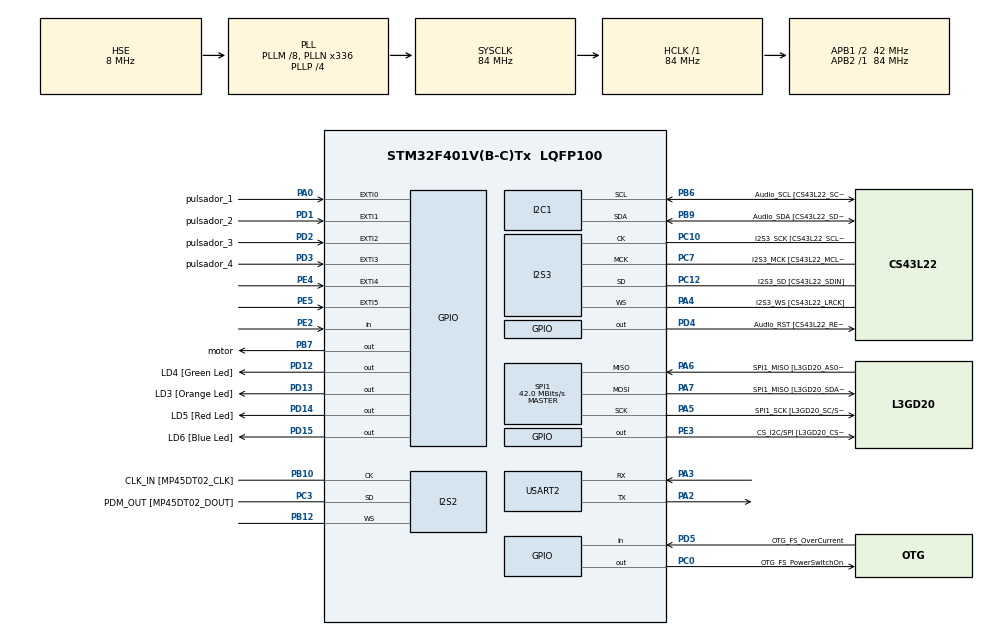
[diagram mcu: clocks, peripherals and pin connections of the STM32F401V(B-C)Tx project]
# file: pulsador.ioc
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FREERTOS.Tasks01=defaultTask,24,4096,StartDefaultTask,Default,NULL,Dynamic,NULL,NULL
FREERTOS.configMINIMAL_STACK_SIZE=128
FREERTOS.configTOTAL_HEAP_SIZE=32768
I2C1.I2C_Mode=I2C_Fast
I2S2.ErrorAudioFreq=0.0 %
I2S2.FullDuplexMode=I2S_FULLDUPLEXMODE_DISABLE
I2S2.Instance=SPI$Index
I2S2.RealAudioFreq=8.0 KHz
I2S2.VirtualMode=I2S_MODE_MASTER
I2S3.AudioFreq=I2S_AUDIOFREQ_96K
I2S3.ErrorAudioFreq=-2.34 %
I2S3.FullDuplexMode=I2S_FULLDUPLEXMODE_DISABLE
I2S3.Instance=SPI$Index
I2S3.RealAudioFreq=93.75 KHz
I2S3.VirtualMode=I2S_MODE_MASTER
Mcu.Family=STM32F4
Mcu.Name=STM32F401V(B-C)Tx
Mcu.Package=LQFP100
NVIC.EXTI0_IRQn=true\:5\:0\:false\:false\:true\:true\:true\:true
NVIC.EXTI1_IRQn=true\:5\:0\:false\:false\:true\:true\:true\:true
NVIC.EXTI2_IRQn=true\:5\:0\:false\:false\:true\:true\:true\:true
NVIC.EXTI3_IRQn=true\:5\:0\:false\:false\:true\:true\:true\:true
NVIC.PriorityGroup=NVIC_PRIORITYGROUP_4
NVIC.TIM1_UP_TIM10_IRQn=true\:0\:0\:false\:false\:true\:false\:false\:true
NVIC.TimeBase=TIM1_UP_TIM10_IRQn
NVIC.TimeBaseIP=TIM1
PA0-WKUP.GPIO_Label=pulsador_1
PA0-WKUP.GPIO_PuPd=GPIO_PULLDOWN
PA0-WKUP.Signal=GPXTI0
PA10.GPIO_Label=OTG_FS_ID
PA10.Signal=USB_OTG_FS_ID
PA11.GPIO_Label=OTG_FS_DM
PA11.Signal=USB_OTG_FS_DM
PA12.GPIO_Label=OTG_FS_DP
PA12.Signal=USB_OTG_FS_DP
PA13.GPIO_Label=SWDIO
PA13.Mode=Serial_Wire
PA13.Signal=SYS_JTMS-SWDIO
PA14.GPIO_Label=SWCLK
PA14.Mode=Serial_Wire
PA14.Signal=SYS_JTCK-SWCLK
PA2.Mode=Asynchronous
PA2.Signal=USART2_TX
PA3.Mode=Asynchronous
PA3.Signal=USART2_RX
PA4.GPIO_Label=I2S3_WS [CS43L22_LRCK]
PA4.GPIO_Mode=GPIO_MODE_AF_PP
PA4.GPIO_PuPd=GPIO_NOPULL
PA4.GPIO_Speed=GPIO_SPEED_FREQ_LOW
PA4.Mode=Half_Duplex_Master
PA4.Signal=I2S3_WS
PA5.GPIO_Label=SPI1_SCK [L3GD20_SC/SPC]
PA5.Mode=Full_Duplex_Master
PA5.Signal=SPI1_SCK
PA6.GPIO_Label=SPI1_MISO [L3GD20_AS0/SDO]
PA6.Mode=Full_Duplex_Master
PA6.Signal=SPI1_MISO
PA7.GPIO_Label=SPI1_MISO [L3GD20_SDA/SDI/SDO]
PA7.Mode=Full_Duplex_Master
PA7.Signal=SPI1_MOSI
PA9.GPIO_Label=VBUS_FS
PA9.Signal=USB_OTG_FS_VBUS
PB10.GPIO_Label=CLK_IN [MP45DT02_CLK]
PB10.Mode=Half_Duplex_Master
PB10.Signal=I2S2_CK
PB12.Mode=Half_Duplex_Master
PB12.Signal=I2S2_WS
PB3.GPIO_Label=SWO
PB3.Signal=SYS_JTDO-SWO
PB6.GPIO_Label=Audio_SCL [CS43L22_SCL]
PB6.GPIO_Mode=GPIO_MODE_AF_OD
PB6.GPIO_PuPd=GPIO_NOPULL
PB6.GPIO_Speed=GPIO_SPEED_FREQ_LOW
PB6.Mode=I2C
PB6.Signal=I2C1_SCL
PB7.GPIO_Label=motor
PB7.GPIO_ModeDefaultOutputPP=GPIO_MODE_OUTPUT_OD
PB7.GPIO_PuPd=GPIO_PULLUP
PB7.PinState=GPIO_PIN_SET
PB7.Signal=GPIO_Output
PB9.GPIO_Label=Audio_SDA [CS43L22_SDA]
PB9.GPIO_Mode=GPIO_MODE_AF_OD
PB9.GPIO_PuPd=GPIO_NOPULL
PB9.GPIO_Speed=GPIO_SPEED_FREQ_LOW
PB9.Mode=I2C
PB9.Signal=I2C1_SDA
PC0.GPIO_Label=OTG_FS_PowerSwitchOn
PC0.PinState=GPIO_PIN_SET
PC0.Signal=GPIO_Output
PC10.GPIO_Label=I2S3_SCK [CS43L22_SCLK]
PC10.GPIO_Mode=GPIO_MODE_AF_PP
PC10.GPIO_PuPd=GPIO_NOPULL
PC10.GPIO_Speed=GPIO_SPEED_FREQ_LOW
PC10.Mode=Half_Duplex_Master
PC10.Signal=I2S3_CK
PC12.GPIO_Label=I2S3_SD [CS43L22_SDIN]
PC12.GPIO_Mode=GPIO_MODE_AF_PP
PC12.GPIO_PuPd=GPIO_NOPULL
PC12.GPIO_Speed=GPIO_SPEED_FREQ_LOW
PC12.Mode=Half_Duplex_Master
PC12.Signal=I2S3_SD
PC14-OSC32_IN.GPIO_Label=PC14-OSC32_IN
PC14-OSC32_IN.Mode=LSE-External-Oscillator
PC14-OSC32_IN.Signal=RCC_OSC32_IN
PC15-OSC32_OUT.GPIO_Label=PC15-OSC32_OUT
PC15-OSC32_OUT.Mode=LSE-External-Oscillator
PC15-OSC32_OUT.Signal=RCC_OSC32_OUT
PC3.GPIO_Label=PDM_OUT [MP45DT02_DOUT]
PC3.Mode=Half_Duplex_Master
PC3.Signal=I2S2_SD
PC7.GPIO_Label=I2S3_MCK [CS43L22_MCLK]
PC7.GPIO_Mode=GPIO_MODE_AF_PP
PC7.GPIO_PuPd=GPIO_NOPULL
PC7.GPIO_Speed=GPIO_SPEED_FREQ_LOW
PC7.Mode=Master_Clock_Activated
PC7.Signal=I2S3_MCK
PD1.GPIO_Label=pulsador_2
PD1.GPIO_PuPd=GPIO_PULLDOWN
PD1.Signal=GPXTI1
PD12.GPIO_Label=LD4 [Green Led]
PD12.GPIO_PuPd=GPIO_NOPULL
PD12.GPIO_Speed=GPIO_SPEED_FREQ_LOW
PD12.Signal=GPIO_Output
PD13.GPIO_Label=LD3 [Orange Led]
PD13.GPIO_PuPd=GPIO_NOPULL
PD13.GPIO_Speed=GPIO_SPEED_FREQ_LOW
PD13.Signal=GPIO_Output
PD14.GPIO_Label=LD5 [Red Led]
PD14.GPIO_PuPd=GPIO_NOPULL
PD14.GPIO_Speed=GPIO_SPEED_FREQ_LOW
PD14.Signal=GPIO_Output
PD15.GPIO_Label=LD6 [Blue Led]
PD15.GPIO_PuPd=GPIO_NOPULL
PD15.GPIO_Speed=GPIO_SPEED_FREQ_LOW
PD15.Signal=GPIO_Output
PD2.GPIO_Label=pulsador_3
PD2.GPIO_ModeDefaultEXTI=GPIO_MODE_IT_RISING
PD2.GPIO_PuPd=GPIO_PULLDOWN
PD2.Signal=GPXTI2
PD3.GPIO_Label=pulsador_4
PD3.GPIO_PuPd=GPIO_PULLDOWN
PD3.Signal=GPXTI3
PD4.GPIO_Label=Audio_RST [CS43L22_RESET]
PD4.Signal=GPIO_Output
PD5.GPIO_Label=OTG_FS_OverCurrent
PD5.Signal=GPIO_Input
PE2.Signal=GPIO_Input
PE3.GPIO_Label=CS_I2C/SPI [L3GD20_CS_I2C/SPI]
PE3.Signal=GPIO_Output
PE4.GPIO_ModeDefaultEXTI=GPIO_MODE_EVT_RISING
PE4.Signal=GPXTI4
PE5.GPIO_ModeDefaultEXTI=GPIO_MODE_EVT_RISING
PE5.Signal=GPXTI5
PH0\ -\ OSC_IN.GPIO_Label=PH0-OSC_IN
PH0\ -\ OSC_IN.Mode=HSE-External-Oscillator
PH0\ -\ OSC_IN.Signal=RCC_OSC_IN
PH1\ -\ OSC_OUT.GPIO_Label=PH1-OSC_OUT
PH1\ -\ OSC_OUT.Mode=HSE-External-Oscillator
PH1\ -\ OSC_OUT.Signal=RCC_OSC_OUT
ProjectManager.HeapSize=0x200
ProjectManager.StackSize=0x400
ProjectManager.TargetToolchain=STM32CubeIDE
RCC.AHBFreq_Value=84000000
RCC.APB1CLKDivider=RCC_HCLK_DIV2
RCC.APB1Freq_Value=42000000
RCC.APB1TimFreq_Value=84000000
RCC.APB2Freq_Value=84000000
RCC.APB2TimFreq_Value=84000000
RCC.CortexFreq_Value=84000000
RCC.HCLKFreq_Value=84000000
RCC.HSE_VALUE=8000000
RCC.HSI_VALUE=16000000
RCC.PLLM=8
RCC.PLLN=336
RCC.PLLP=RCC_PLLP_DIV4
RCC.PLLQ=7
RCC.PLLSourceVirtual=RCC_PLLSOURCE_HSE
RCC.SYSCLKFreq_VALUE=84000000
RCC.SYSCLKSource=RCC_SYSCLKSOURCE_PLLCLK
RCC.VCOOutputFreq_Value=336000000
SPI1.CalculateBaudRate=42.0 MBits/s
SPI1.Direction=SPI_DIRECTION_2LINES
SPI1.Mode=SPI_MODE_MASTER
SPI1.VirtualType=VM_MASTER
USART2.VirtualMode=VM_ASYNC
VP_FREERTOS_VS_CMSIS_V2.Mode=CMSIS_V2
VP_SYS_VS_tim1.Mode=TIM1
board=STM32F401C-DISCO

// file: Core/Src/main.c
/* USER CODE BEGIN Header */
/**
  ******************************************************************************
  * @file           : main.c
  * @brief          : Main program body
  ******************************************************************************
  * @attention
  *
  * <h2><center>&copy; Copyright (c) 2019 STMicroelectronics.
  * All rights reserved.</center></h2>
  *
  * This software component is licensed by ST under Ultimate Liberty license
  * SLA0044, the "License"; You may not use this file except in compliance with
  * the License. You may obtain a copy of the License at:
  *                             www.st.com/SLA0044
  *
  ******************************************************************************
  */
/* USER CODE END Header */

#include "main.h"
#include "cmsis_os.h"
#include "button_driver.h"
#include "read_accel.h"

I2C_HandleTypeDef hi2c1;

I2S_HandleTypeDef hi2s2;
I2S_HandleTypeDef hi2s3;

SPI_HandleTypeDef hspi1;

UART_HandleTypeDef huart2;

/* USER CODE BEGIN PV */
osThreadId_t buttonTaskHandle;
osThreadId_t readAccelTaskHandle;
/* USER CODE END PV */

void SystemClock_Config(void);
static void MX_GPIO_Init(void);
static void MX_I2C1_Init(void);
static void MX_I2S2_Init(void);
static void MX_I2S3_Init(void);
static void MX_SPI1_Init(void);
static void MX_USART2_UART_Init(void);

int main(void)
{

  /* MCU Configuration--------------------------------------------------------*/

  /* Reset of all peripherals, Initializes the Flash interface and the Systick. */
  HAL_Init();

  /* Configure the system clock */
  SystemClock_Config();

  /* Initialize all configured peripherals */
  MX_GPIO_Init();
  MX_I2C1_Init();
  MX_I2S2_Init();
  MX_I2S3_Init();
  MX_SPI1_Init();
  MX_USART2_UART_Init();

  osKernelInitialize();

  /* Create the thread(s) */

  /* USER CODE BEGIN RTOS_THREADS */
  InitButtonTask();
  const osThreadAttr_t buttonTask_attributes = {
    .name = "buttonTask",
    .priority = (osPriority_t) osPriorityAboveNormal,
    .stack_size = 4096,
  };
  buttonTaskHandle = osThreadNew(ButtonTask, NULL, &buttonTask_attributes);

  InitReadAccelTask();
  const osThreadAttr_t readAccelTask_attributes = {
    .name = "readAccelTask",
    .priority = (osPriority_t) osPriorityNormal,
    .stack_size = 8192,
  };
  readAccelTaskHandle = osThreadNew(ReadAccelTask, NULL,
    &readAccelTask_attributes);
  /* USER CODE END RTOS_THREADS */

  /* Start scheduler */
  osKernelStart();

  /* We should never get here as control is now taken by the scheduler */

  /* Infinite loop */
  while (1)
  {

  }
}

void SystemClock_Config(void)
{
  RCC_OscInitTypeDef RCC_OscInitStruct = {0};
  RCC_ClkInitTypeDef RCC_ClkInitStruct = {0};
  RCC_PeriphCLKInitTypeDef PeriphClkInitStruct = {0};

  /** Configure the main internal regulator output voltage
  */
  __HAL_RCC_PWR_CLK_ENABLE();
  __HAL_PWR_VOLTAGESCALING_CONFIG(PWR_REGULATOR_VOLTAGE_SCALE2);
  /** Initializes the CPU, AHB and APB busses clocks
  */
  RCC_OscInitStruct.OscillatorType = RCC_OSCILLATORTYPE_HSE;
  RCC_OscInitStruct.HSEState = RCC_HSE_ON;
  RCC_OscInitStruct.PLL.PLLState = RCC_PLL_ON;
  RCC_OscInitStruct.PLL.PLLSource = RCC_PLLSOURCE_HSE;
  RCC_OscInitStruct.PLL.PLLM = 8;
  RCC_OscInitStruct.PLL.PLLN = 336;
  RCC_OscInitStruct.PLL.PLLP = RCC_PLLP_DIV4;
  RCC_OscInitStruct.PLL.PLLQ = 7;
  if (HAL_RCC_OscConfig(&RCC_OscInitStruct) != HAL_OK)
  {
    Error_Handler();
  }
  /** Initializes the CPU, AHB and APB busses clocks
  */
  RCC_ClkInitStruct.ClockType = RCC_CLOCKTYPE_HCLK|RCC_CLOCKTYPE_SYSCLK
                              |RCC_CLOCKTYPE_PCLK1|RCC_CLOCKTYPE_PCLK2;
  RCC_ClkInitStruct.SYSCLKSource = RCC_SYSCLKSOURCE_PLLCLK;
  RCC_ClkInitStruct.AHBCLKDivider = RCC_SYSCLK_DIV1;
  RCC_ClkInitStruct.APB1CLKDivider = RCC_HCLK_DIV2;
  RCC_ClkInitStruct.APB2CLKDivider = RCC_HCLK_DIV1;

  if (HAL_RCC_ClockConfig(&RCC_ClkInitStruct, FLASH_LATENCY_2) != HAL_OK)
  {
    Error_Handler();
  }
  PeriphClkInitStruct.PeriphClockSelection = RCC_PERIPHCLK_I2S;
  PeriphClkInitStruct.PLLI2S.PLLI2SN = 192;
  PeriphClkInitStruct.PLLI2S.PLLI2SR = 2;
  if (HAL_RCCEx_PeriphCLKConfig(&PeriphClkInitStruct) != HAL_OK)
  {
    Error_Handler();
  }
}

static void MX_I2C1_Init(void)
{

  hi2c1.Instance = I2C1;
  hi2c1.Init.ClockSpeed = 400000;
  hi2c1.Init.DutyCycle = I2C_DUTYCYCLE_2;
  hi2c1.Init.OwnAddress1 = 0;
  hi2c1.Init.AddressingMode = I2C_ADDRESSINGMODE_7BIT;
  hi2c1.Init.DualAddressMode = I2C_DUALADDRESS_DISABLE;
  hi2c1.Init.OwnAddress2 = 0;
  hi2c1.Init.GeneralCallMode = I2C_GENERALCALL_DISABLE;
  hi2c1.Init.NoStretchMode = I2C_NOSTRETCH_DISABLE;
  if (HAL_I2C_Init(&hi2c1) != HAL_OK)
  {
    Error_Handler();
  }

}

static void MX_I2S2_Init(void)
{

  hi2s2.Instance = SPI2;
  hi2s2.Init.Mode = I2S_MODE_MASTER_TX;
  hi2s2.Init.Standard = I2S_STANDARD_PHILIPS;
  hi2s2.Init.DataFormat = I2S_DATAFORMAT_16B;
  hi2s2.Init.MCLKOutput = I2S_MCLKOUTPUT_DISABLE;
  hi2s2.Init.AudioFreq = I2S_AUDIOFREQ_8K;
  hi2s2.Init.CPOL = I2S_CPOL_LOW;
  hi2s2.Init.ClockSource = I2S_CLOCK_PLL;
  hi2s2.Init.FullDuplexMode = I2S_FULLDUPLEXMODE_DISABLE;
  if (HAL_I2S_Init(&hi2s2) != HAL_OK)
  {
    Error_Handler();
  }

}

static void MX_I2S3_Init(void)
{

  hi2s3.Instance = SPI3;
  hi2s3.Init.Mode = I2S_MODE_MASTER_TX;
  hi2s3.Init.Standard = I2S_STANDARD_PHILIPS;
  hi2s3.Init.DataFormat = I2S_DATAFORMAT_16B;
  hi2s3.Init.MCLKOutput = I2S_MCLKOUTPUT_ENABLE;
  hi2s3.Init.AudioFreq = I2S_AUDIOFREQ_96K;
  hi2s3.Init.CPOL = I2S_CPOL_LOW;
  hi2s3.Init.ClockSource = I2S_CLOCK_PLL;
  hi2s3.Init.FullDuplexMode = I2S_FULLDUPLEXMODE_DISABLE;
  if (HAL_I2S_Init(&hi2s3) != HAL_OK)
  {
    Error_Handler();
  }

}

static void MX_SPI1_Init(void)
{

  /* SPI1 parameter configuration*/
  hspi1.Instance = SPI1;
  hspi1.Init.Mode = SPI_MODE_MASTER;
  hspi1.Init.Direction = SPI_DIRECTION_2LINES;
  hspi1.Init.DataSize = SPI_DATASIZE_8BIT;
  hspi1.Init.CLKPolarity = SPI_POLARITY_LOW;
  hspi1.Init.CLKPhase = SPI_PHASE_1EDGE;
  hspi1.Init.NSS = SPI_NSS_SOFT;
  hspi1.Init.BaudRatePrescaler = SPI_BAUDRATEPRESCALER_2;
  hspi1.Init.FirstBit = SPI_FIRSTBIT_MSB;
  hspi1.Init.TIMode = SPI_TIMODE_DISABLE;
  hspi1.Init.CRCCalculation = SPI_CRCCALCULATION_DISABLE;
  hspi1.Init.CRCPolynomial = 10;
  if (HAL_SPI_Init(&hspi1) != HAL_OK)
  {
    Error_Handler();
  }

}

static void MX_USART2_UART_Init(void)
{

  huart2.Instance = USART2;
  huart2.Init.BaudRate = 115200;
  huart2.Init.WordLength = UART_WORDLENGTH_8B;
  huart2.Init.StopBits = UART_STOPBITS_1;
  huart2.Init.Parity = UART_PARITY_NONE;
  huart2.Init.Mode = UART_MODE_TX_RX;
  huart2.Init.HwFlowCtl = UART_HWCONTROL_NONE;
  huart2.Init.OverSampling = UART_OVERSAMPLING_16;
  if (HAL_UART_Init(&huart2) != HAL_OK)
  {
    Error_Handler();
  }

}

static void MX_GPIO_Init(void)
{
  GPIO_InitTypeDef GPIO_InitStruct = {0};

  /* GPIO Ports Clock Enable */
  __HAL_RCC_GPIOE_CLK_ENABLE();
  __HAL_RCC_GPIOC_CLK_ENABLE();
  __HAL_RCC_GPIOH_CLK_ENABLE();
  __HAL_RCC_GPIOA_CLK_ENABLE();
  __HAL_RCC_GPIOB_CLK_ENABLE();
  __HAL_RCC_GPIOD_CLK_ENABLE();

  /*Configure GPIO pin Output Level */
  HAL_GPIO_WritePin(CS_I2C_SPI_GPIO_Port, CS_I2C_SPI_Pin, GPIO_PIN_RESET);

  /*Configure GPIO pin Output Level */
  HAL_GPIO_WritePin(OTG_FS_PowerSwitchOn_GPIO_Port, OTG_FS_PowerSwitchOn_Pin, GPIO_PIN_SET);

  /*Configure GPIO pin Output Level */
  HAL_GPIO_WritePin(GPIOD, LD4_Pin|LD3_Pin|LD5_Pin|LD6_Pin
                          |Audio_RST_Pin, GPIO_PIN_RESET);

  /*Configure GPIO pin : PE2 */
  GPIO_InitStruct.Pin = GPIO_PIN_2;
  GPIO_InitStruct.Mode = GPIO_MODE_INPUT;
  GPIO_InitStruct.Pull = GPIO_NOPULL;
  HAL_GPIO_Init(GPIOE, &GPIO_InitStruct);

  /*Configure GPIO pin : CS_I2C_SPI_Pin */
  GPIO_InitStruct.Pin = CS_I2C_SPI_Pin;
  GPIO_InitStruct.Mode = GPIO_MODE_OUTPUT_PP;
  GPIO_InitStruct.Pull = GPIO_NOPULL;
  GPIO_InitStruct.Speed = GPIO_SPEED_FREQ_LOW;
  HAL_GPIO_Init(CS_I2C_SPI_GPIO_Port, &GPIO_InitStruct);

  /*Configure GPIO pins : PE4 PE5 */
  GPIO_InitStruct.Pin = GPIO_PIN_4|GPIO_PIN_5;
  GPIO_InitStruct.Mode = GPIO_MODE_EVT_RISING;
  GPIO_InitStruct.Pull = GPIO_NOPULL;
  HAL_GPIO_Init(GPIOE, &GPIO_InitStruct);

  /*Configure GPIO pin : OTG_FS_PowerSwitchOn_Pin */
  GPIO_InitStruct.Pin = OTG_FS_PowerSwitchOn_Pin;
  GPIO_InitStruct.Mode = GPIO_MODE_OUTPUT_PP;
  GPIO_InitStruct.Pull = GPIO_NOPULL;
  GPIO_InitStruct.Speed = GPIO_SPEED_FREQ_LOW;
  HAL_GPIO_Init(OTG_FS_PowerSwitchOn_GPIO_Port, &GPIO_InitStruct);

  /*Configure GPIO pin : pulsador_1_Pin */
  GPIO_InitStruct.Pin = pulsador_1_Pin;
  GPIO_InitStruct.Mode = GPIO_MODE_IT_RISING;
  GPIO_InitStruct.Pull = GPIO_PULLDOWN;
  HAL_GPIO_Init(pulsador_1_GPIO_Port, &GPIO_InitStruct);

  /*Configure GPIO pins : LD4_Pin LD3_Pin LD5_Pin LD6_Pin
                           Audio_RST_Pin */
  GPIO_InitStruct.Pin = LD4_Pin|LD3_Pin|LD5_Pin|LD6_Pin
                          |Audio_RST_Pin;
  GPIO_InitStruct.Mode = GPIO_MODE_OUTPUT_PP;
  GPIO_InitStruct.Pull = GPIO_NOPULL;
  GPIO_InitStruct.Speed = GPIO_SPEED_FREQ_LOW;
  HAL_GPIO_Init(GPIOD, &GPIO_InitStruct);

  /*Configure GPIO pin : VBUS_FS_Pin */
  GPIO_InitStruct.Pin = VBUS_FS_Pin;
  GPIO_InitStruct.Mode = GPIO_MODE_INPUT;
  GPIO_InitStruct.Pull = GPIO_NOPULL;
  HAL_GPIO_Init(VBUS_FS_GPIO_Port, &GPIO_InitStruct);

  /*Configure GPIO pins : OTG_FS_ID_Pin OTG_FS_DM_Pin OTG_FS_DP_Pin */
  GPIO_InitStruct.Pin = OTG_FS_ID_Pin|OTG_FS_DM_Pin|OTG_FS_DP_Pin;
  GPIO_InitStruct.Mode = GPIO_MODE_AF_PP;
  GPIO_InitStruct.Pull = GPIO_NOPULL;
  GPIO_InitStruct.Speed = GPIO_SPEED_FREQ_VERY_HIGH;
  GPIO_InitStruct.Alternate = GPIO_AF10_OTG_FS;
  HAL_GPIO_Init(GPIOA, &GPIO_InitStruct);

  /*Configure GPIO pins : pulsador_2_Pin pulsador_3_Pin pulsador_4_Pin */
  GPIO_InitStruct.Pin = pulsador_2_Pin|pulsador_3_Pin|pulsador_4_Pin;
  GPIO_InitStruct.Mode = GPIO_MODE_IT_RISING;
  GPIO_InitStruct.Pull = GPIO_PULLDOWN;
  HAL_GPIO_Init(GPIOD, &GPIO_InitStruct);

  /*Configure GPIO pin : OTG_FS_OverCurrent_Pin */
  GPIO_InitStruct.Pin = OTG_FS_OverCurrent_Pin;
  GPIO_InitStruct.Mode = GPIO_MODE_INPUT;
  GPIO_InitStruct.Pull = GPIO_NOPULL;
  HAL_GPIO_Init(OTG_FS_OverCurrent_GPIO_Port, &GPIO_InitStruct);

  HAL_GPIO_WritePin(motor_GPIO_Port, motor_Pin, GPIO_PIN_SET);
  /*Configure GPIO pin : motor_Pin */
  GPIO_InitStruct.Pin = motor_Pin;
  GPIO_InitStruct.Mode = GPIO_MODE_OUTPUT_OD;
  GPIO_InitStruct.Pull = GPIO_PULLUP;
  GPIO_InitStruct.Speed = GPIO_SPEED_FREQ_LOW;
  HAL_GPIO_Init(motor_GPIO_Port, &GPIO_InitStruct);

  /* EXTI interrupt init*/
  HAL_NVIC_SetPriority(EXTI0_IRQn, 5, 0);
  HAL_NVIC_EnableIRQ(EXTI0_IRQn);

  HAL_NVIC_SetPriority(EXTI1_IRQn, 5, 0);
  HAL_NVIC_EnableIRQ(EXTI1_IRQn);

  HAL_NVIC_SetPriority(EXTI2_IRQn, 5, 0);
  HAL_NVIC_EnableIRQ(EXTI2_IRQn);

  HAL_NVIC_SetPriority(EXTI3_IRQn, 5, 0);
  HAL_NVIC_EnableIRQ(EXTI3_IRQn);

}

void HAL_TIM_PeriodElapsedCallback(TIM_HandleTypeDef *htim)
{
  if (htim->Instance == TIM1) {
    HAL_IncTick();
  }
}

void Error_Handler(void)
{
}

/************************ (C) COPYRIGHT STMicroelectronics *****END OF FILE****/
